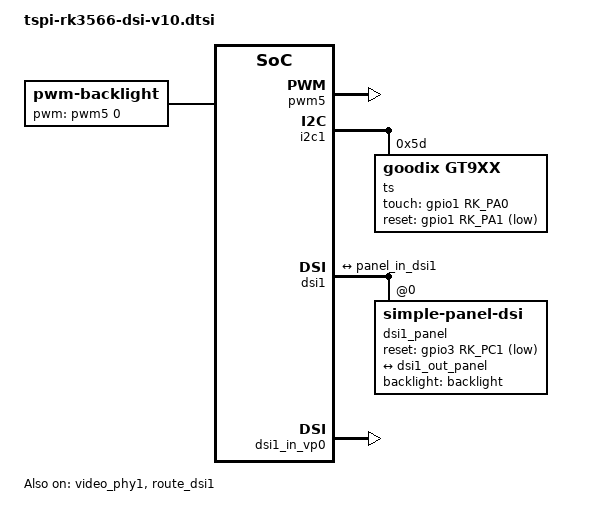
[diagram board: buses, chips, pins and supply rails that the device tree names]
/*********************************************************************
 *           立创开发板不靠卖板赚钱，以培养中国工程师为己任  
 *         泰山派软硬件资料与相关扩展板软硬件资料官网全部开源
 *                      开发板官网：www.lckfb.com            
 *                     立创论坛：oshwhub.com/forum           
 *            关注B站：【立创开发板】，掌握我们的最新动态！  
 *********************************************************************
 * 文件名：tspi-rk3566-dsi-v10.dtsi
 * 描述：mipi 屏幕
 * 更新:
 * 时间          作者           联系           说明
 * 2023-09-13   吴才成    1378913492@qq.com   v1.0.0
 *********************************************************************/
/ {
	backlight: backlight {
		compatible = "pwm-backlight";
		pwms = <&pwm5 0 25000 0>;
		brightness-levels = <
			  0  20  20  21  21  22  22  23
			 23  24  24  25  25  26  26  27
			 27  28  28  29  29  30  30  31
			 31  32  32  33  33  34  34  35
			 35  36  36  37  37  38  38  39
			 40  41  42  43  44  45  46  47
			 48  49  50  51  52  53  54  55
			 56  57  58  59  60  61  62  63
			 64  65  66  67  68  69  70  71
			 72  73  74  75  76  77  78  79
			 80  81  82  83  84  85  86  87
			 88  89  90  91  92  93  94  95
			 96  97  98  99 100 101 102 103
			104 105 106 107 108 109 110 111
			112 113 114 115 116 117 118 119
			120 121 122 123 124 125 126 127
			128 129 130 131 132 133 134 135
			136 137 138 139 140 141 142 143
			144 145 146 147 148 149 150 151
			152 153 154 155 156 157 158 159
			160 161 162 163 164 165 166 167
			168 169 170 171 172 173 174 175
			176 177 178 179 180 181 182 183
			184 185 186 187 188 189 190 191
			192 193 194 195 196 197 198 199
			200 201 202 203 204 205 206 207
			208 209 210 211 212 213 214 215
			216 217 218 219 220 221 222 223
			224 225 226 227 228 229 230 231
			232 233 234 235 236 237 238 239
			240 241 242 243 244 245 246 247
			248 249 250 251 252 253 254 255
		>;
		default-brightness-level = <255>;
	};
};

&pwm5 {
	status = "okay";
};


&i2c1 {
	status = "okay";
	ts@5d {
		pinctrl-0 = <&touch_gpio>;
		compatible = "goodix,gt9xx";
		reg = <0x5d>;
		tp-size = <970>;
		max-x = <1200>;  //akiva
		max-y = <1920>;  //akiva
		touch-gpio = <&gpio1 RK_PA0 IRQ_TYPE_LEVEL_LOW>;
		reset-gpio = <&gpio1 RK_PA1 GPIO_ACTIVE_LOW>;
	};
};

&pinctrl {
	dsi1 {
		dsi1_rst_gpio: dsi1-rst-gpio {
			rockchip,pins = <3 RK_PC1 RK_FUNC_GPIO &pcfg_pull_none>;
		};
		touch_gpio: touch-gpio {
			rockchip,pins = <1 RK_PA0 RK_FUNC_GPIO &pcfg_pull_up>;
		};
	};
};

/*
 * video_phy1 needs to be enabled
 * when dsi1 is enabled
 */
&dsi1 {
	status = "okay";
};

&dsi1_in_vp0 {
	status = "okay";
};

&dsi1_in_vp1 {
	status = "disabled";
};

&video_phy1 {
	status = "okay";
};

&route_dsi1 {
	status = "okay";//wucaicheng mipi okay
	connect = <&vp0_out_dsi1>;
};

/************************************************************************************************************************************************
 07255  akiva
 R69429 JDI 1200X1920
************************************************************************************************************************************************/
&dsi1 {
	status = "okay";
	// rockchip,lane-rate = <421>;  //akiva
	dsi1_panel: panel@0 {
		status = "okay";
		compatible = "simple-panel-dsi";
		reset-gpios = <&gpio3 RK_PC1 GPIO_ACTIVE_LOW>;
		pinctrl-names = "default";
		pinctrl-0 = <&dsi1_rst_gpio>;
		reg = <0>;
		backlight = <&backlight>;
		reset-delay-ms = <30>;
		enable-delay-ms = <100>;
		prepare-delay-ms = <20>;
		unprepare-delay-ms = <20>;
		disable-delay-ms = <20>;
		init-delay-ms = <10>;
		dsi,flags = <(MIPI_DSI_MODE_VIDEO | MIPI_DSI_MODE_VIDEO_BURST |
			MIPI_DSI_MODE_LPM | MIPI_DSI_MODE_EOT_PACKET)>;
		dsi,format = <MIPI_DSI_FMT_RGB888>;
		dsi,lanes  = <4>;
		panel-init-sequence = [
			05 0a 01 01 //soft reset 
			23 00 01 b0 //MCAP
			29 00 06 b3 14 08 00 22 00 //Interface setting
			29 00 02 b4 0c    //Interface ID setting
			29 00 03 b6 3a d3 //DSI control
			15 00 02 51 e6   //write display brightness 
			15 00 02 53 2c   //write control display
			05 0a 01 29      //set display on
			05 78 01 11      //exit sleep mode
			
			
			// 39 00 02 b0 00 	
			// 39 00 02 d6 01 
			// 39 00 06 b3 14 08 00 22 00 //Interface setting
			// 39 00 02 b4 0c  //Interface ID setting
			// 39 00 02 de 00   
			// 39 00 03 b6 3a d3  //DSI control	
			// 39 00 02 c0 00 
			// 39 00 25 c1 0C 61 00 20 00 01 40 01 00 1c f7 e0 62 ad b1 05 9f 3b 00 80 02 80 00 01 00 11 11 11 11 80 00 00 00 22 00 01 
			// 39 00 0a c2 31 f7 80 00 08 00 08 00 00 
			// 39 00 0d c4 70 03 03 00 00 00 00 00 00 08 02 00 
			// 39 00 15 c6 72 01 45 01 66 01 01 01 01 01 01 01 01 01 01 01 01 0b 1a 05 
			// 39 00 1f c7 00 0f 17 21 30 3f 49 5a 41 49 57 6B 72 75 76 00 0F 17 21 30 3F 49 5A 41 49 57 6B 72 75 76 
			// 39 00 14 c8 01 00 00 fe fe fc f0 00 00 00 00 fc 00 00 00 00 00 fc 00 
			// 39 00 05 c9 00 03 01 53 
			// 39 00 0d cb 6a fc ff 58 01 04 00 00 80 00 3c cf 
			// 39 00 02 cc 07 
			// 39 00 0b d0 55 81 bb 17 0c 4c 19 19 0c 00 
			// 39 00 1b d3 0b 33 bb bb b3 33 33 33 00 01 00 a0 d8 a0 04 43 43 33 3b 22 72 07 3d bf 99 11 
			// 39 00 08 d5 06 00 00 01 2c 01 2c 
			// 39 00 02 d6 01 
			// 39 00 03 B7 60 02 	
			// 39 00 02 51 e0 
			// 39 00 02 53 04 
			// 39 00 02 3a 77 
			// 39 00 02 35 01 
			// 39 00 05 2a 00 00 04 af 
			// 39 00 05 2b 00 00 07 7f 
			// 05 0a 01 29 
			// 05 78 01 11
		];

		panel-exit-sequence = [
		05 16 01 28
		05 78 01 10
		];	

		panel-read-id-sequence = [39 00 04 ff 98 81 01];

		disp_timings1: display-timings {
			native-mode = <&dsi1_timing0>;
			dsi1_timing0: timing0 {
				clock-frequency = <159000000>;   //akiva 153600000
				hactive = <1200>;
				vactive = <1920>;
				hfront-porch = <100>;   //akiva 100; gavin 150
				hsync-len = <10>;      //akiva 10
				hback-porch = <40>;    //akiva 40; gavin 80
				vfront-porch = <12>;   //akiva  8; gavin 12
				vsync-len = <4>;       //akiva 4  
				vback-porch = <16>;    //akiva 30; gavin 16
				hsync-active = <0>;
				vsync-active = <0>;
				de-active = <0>;
				pixelclk-active = <0>;
			};
		};

		ports {
			#address-cells = <1>;
			#size-cells = <0>;

			port@0 {
				reg = <0>;
				panel_in_dsi1: endpoint {
					remote-endpoint = <&dsi1_out_panel>;
				};
			};
		};
	};

	ports {
		#address-cells = <1>;
		#size-cells = <0>;

		port@1 {
			reg = <1>;
			dsi1_out_panel: endpoint {
				remote-endpoint = <&panel_in_dsi1>;
			};
		};
	};

};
